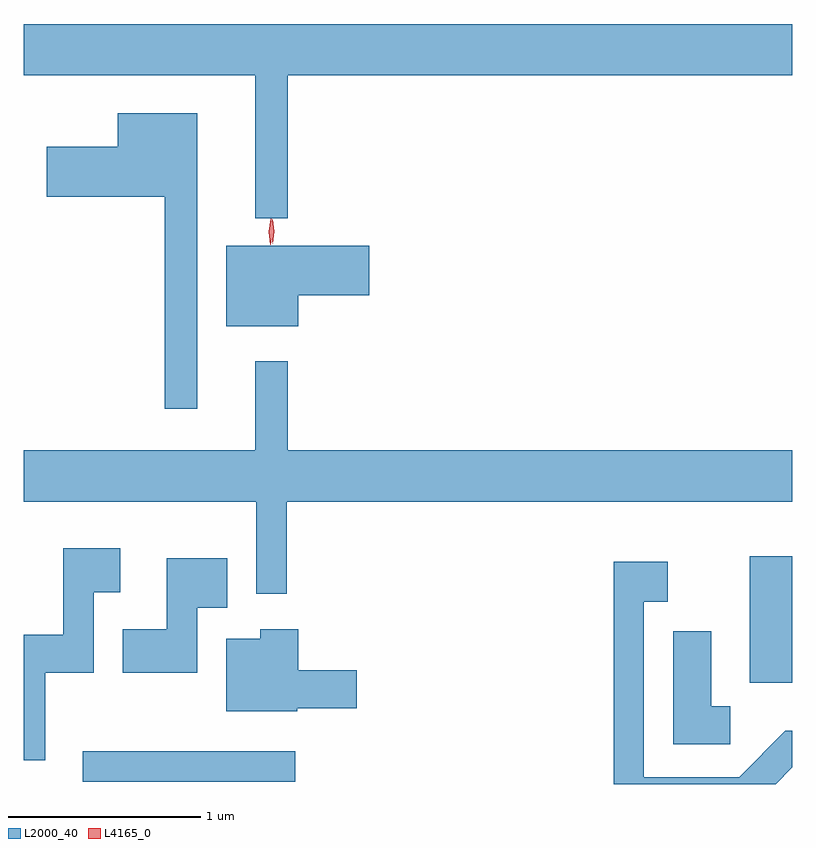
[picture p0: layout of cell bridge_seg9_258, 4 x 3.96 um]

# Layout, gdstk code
import gdstk
lib = gdstk.Library(unit=1e-6, precision=1e-09)
def R(c, l, rs):  # rectangles x0, y0, x1, y1
    for r in rs: c.add(gdstk.rectangle(r[:2], r[2:], *l))
def P(c, l, *ps):  # polygons
    for p in ps: c.add(gdstk.Polygon(p, *l))
L2000_40 = (2000, 40)
L4165_0 = (4165, 0)

bridge_seg9_258 = lib.new_cell('bridge_seg9_258')
R(bridge_seg9_258, L2000_40, [(920.333,2070.281,921.438,2070.439), (923.806,2070.796,924.026,2071.454)])
P(bridge_seg9_258, L2000_40, [(921.399,2073.956),(924.026,2073.956),(924.026,2074.224),(920.026,2074.224),(920.026,2073.956),(921.231,2073.956),(921.231,2073.213),(921.399,2073.213)],
  [(920.929,2073.759),(920.516,2073.759),(920.516,2073.584),(920.146,2073.584),(920.146,2073.326),(920.761,2073.326),(920.761,2072.222),(920.929,2072.222)],
  [(921.454,2072.811),(921.824,2072.811),(921.824,2073.069),(921.081,2073.069),(921.081,2072.651),(921.454,2072.651)],
  [(921.231,2072.004),(920.026,2072.004),(920.026,2071.736),(921.236,2071.736),(921.236,2071.258),(921.394,2071.258),(921.394,2071.736),(924.026,2071.736),(924.026,2072.004),(921.399,2072.004),(921.399,2072.468),(921.231,2072.468)],
  [(920.139,2070.846),(920.389,2070.846),(920.389,2071.266),(920.529,2071.266),(920.529,2071.494),(920.231,2071.494),(920.231,2071.044),(920.026,2071.044),(920.026,2070.391),(920.139,2070.391)],
  [(920.929,2071.186),(921.084,2071.186),(921.084,2071.444),(920.771,2071.444),(920.771,2071.074),(920.541,2071.074),(920.541,2070.846),(920.929,2070.846)],
  [(924.026,2070.355),(924.026,2070.544),(923.989,2070.544),(923.749,2070.304),(923.254,2070.304),(923.254,2071.216),(923.379,2071.216),(923.379,2071.424),(923.096,2071.424),(923.096,2070.268),(923.939,2070.268)],
  [(921.45,2070.661),(921.759,2070.661),(921.759,2070.859),(921.454,2070.859),(921.454,2071.074),(921.256,2071.074),(921.256,2071.024),(921.081,2071.024),(921.081,2070.646),(921.45,2070.646)],
  [(923.704,2070.674),(923.604,2070.674),(923.604,2071.064),(923.406,2071.064),(923.406,2070.476),(923.704,2070.476)])
P(bridge_seg9_258, L4165_0, [(921.31,2073.074),(921.302,2073.142),(921.312,2073.21),(921.312,2073.21),(921.313,2073.21),(921.322,2073.142),(921.311,2073.074),(921.311,2073.074)],
  [(921.322,2073.08),(921.321,2073.081),(921.311,2073.144),(921.32,2073.206),(921.32,2073.207),(921.321,2073.206),(921.331,2073.144),(921.322,2073.081)])

lib.write_gds('bridge_seg9_258.gds')
